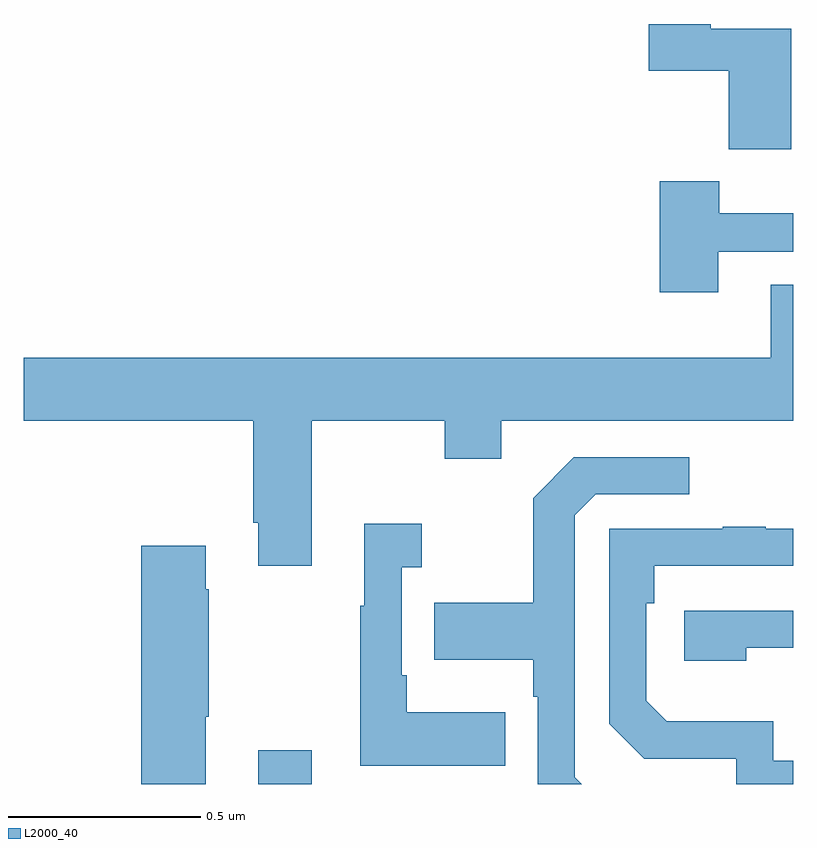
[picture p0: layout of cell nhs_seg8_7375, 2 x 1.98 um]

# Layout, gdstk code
import gdstk
lib = gdstk.Library(unit=1e-6, precision=1e-09)
def R(c, l, rs):  # rectangles x0, y0, x1, y1
    for r in rs: c.add(gdstk.rectangle(r[:2], r[2:], *l))
def P(c, l, *ps):  # polygons
    for p in ps: c.add(gdstk.Polygon(p, *l))
L2000_40 = (2000, 40)

nhs_seg8_7375 = lib.new_cell('nhs_seg8_7375')
R(nhs_seg8_7375, L2000_40, [(209.609,1104.9,209.749,1104.988)])
P(nhs_seg8_7375, L2000_40, [(210.994,1106.863),(210.786,1106.863),(210.786,1106.875),(210.624,1106.875),(210.624,1106.753),(210.832,1106.753),(210.832,1106.549),(210.994,1106.549)],
  [(210.805,1106.283),(211,1106.283),(211,1106.383),(210.808,1106.383),(210.808,1106.467),(210.653,1106.467),(210.653,1106.178),(210.805,1106.178)],
  [(209.749,1105.844),(210.094,1105.844),(210.094,1105.745),(210.241,1105.745),(210.241,1105.844),(211,1105.844),(211,1106.198),(210.941,1106.198),(210.941,1106.008),(209,1106.008),(209,1105.844),(209.597,1105.844),(209.597,1105.579),(209.609,1105.579),(209.609,1105.467),(209.749,1105.467)],
  [(210.432,1104.918),(210.432,1105.599),(210.486,1105.653),(210.73,1105.653),(210.73,1105.749),(210.429,1105.749),(210.324,1105.643),(210.324,1105.371),(210.067,1105.371),(210.067,1105.223),(210.324,1105.223),(210.324,1105.127),(210.336,1105.127),(210.336,1104.9),(210.45,1104.9)],
  [(210.251,1105.087),(209.995,1105.087),(209.995,1105.183),(209.982,1105.183),(209.982,1105.463),(210.034,1105.463),(210.034,1105.576),(209.885,1105.576),(209.885,1105.363),(209.874,1105.363),(209.874,1104.947),(210.251,1104.947)],
  [(211,1104.96),(210.948,1104.96),(210.948,1105.063),(210.671,1105.063),(210.618,1105.116),(210.618,1105.37),(210.638,1105.37),(210.638,1105.467),(211,1105.467),(211,1105.563),(210.929,1105.563),(210.929,1105.568),(210.817,1105.568),(210.817,1105.563),(210.522,1105.563),(210.522,1105.056),(210.612,1104.966),(210.852,1104.966),(210.852,1104.9),(211,1104.9)],
  [(209.473,1105.075),(209.481,1105.075),(209.481,1105.406),(209.473,1105.406),(209.473,1105.519),(209.306,1105.519),(209.306,1104.9),(209.473,1104.9)],
  [(210.878,1105.254),(211,1105.254),(211,1105.35),(210.717,1105.35),(210.717,1105.22),(210.878,1105.22)])

lib.write_gds('nhs_seg8_7375.gds')
